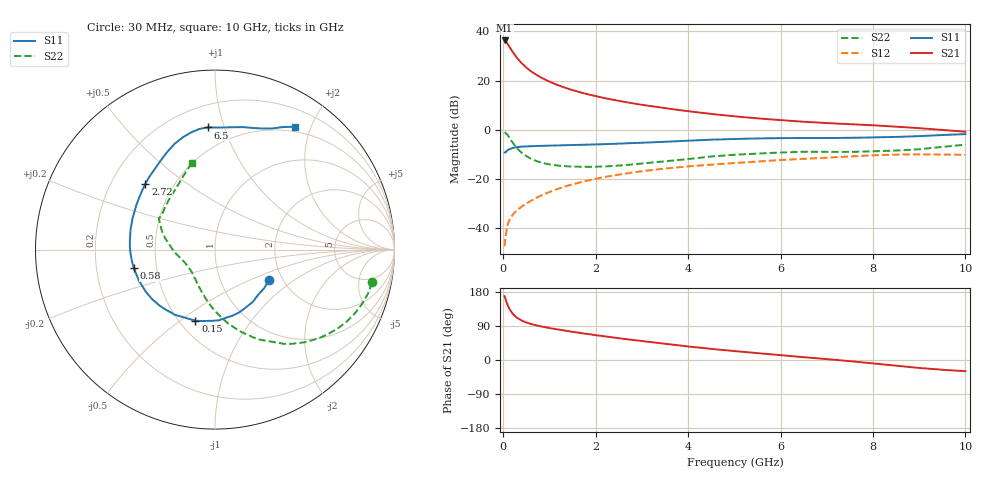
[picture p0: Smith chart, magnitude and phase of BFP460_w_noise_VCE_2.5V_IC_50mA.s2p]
! (c) 2016  Infineon Technologies AG, Munich
! Infineon Technologies  Discrete & RF Semiconductors
! BFP460
! VCE =  2.5 V,  IC =  50 mA
! Common Emitter S-Parameters:  Jan 2016
# GHz  S  MA  R  50
!  f  S11  S21  S12  S22
! GHz  MAG  ANG  MAG  ANG  MAG  ANG  MAG  ANG
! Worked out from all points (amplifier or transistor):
!   229 points, 30 MHz to 10 GHz, reference 50 ohm
!   highest |S21| = 36.3 dB at 30 MHz (marker M1)
!   |S21| within 3 dB of that: start of sweep to 148.7 MHz
!   unconditionally stable (mu >= 1): 1.113 GHz to 7.52 GHz
!   at 280 MHz: K = 0.64, MSG = 31.4 dB, |S12| = -33.0 dB
!   at 1.78 GHz: K = 1.03, MAG = 16.7 dB, |S12| = -20.8 dB
!   at 10 GHz: K = 0.97, MSG = 4.7 dB, |S12| = -10.2 dB
!   lowest NFmin = 1.78 dB at 3.5 GHz
!   S11 on the Smith chart (normalised r, x): 30 MHz: 1.70, -0.65; 150 MHz: 0.60, -0.57; 580 MHz: 0.37, -0.10; 2.72 GHz: 0.35, +0.35; 6.5 GHz: 0.35, +0.88; 10 GHz: 0.43, +1.77
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0.03  0.3447 -29.3  65.61 168.5  0.0043 83.8  0.8953 -11.8
0.05  0.3478 -46.1  63.1 160.0  0.0066 77.7  0.8721 -20.6
0.07  0.3662 -62.7  60.43 152.8  0.0093 73.4  0.8358 -28.7
0.09  0.3815 -75.8  56.89 146.5  0.0112 70.1  0.7904 -36.1
0.12  0.397 -92.2  51.42 138.2  0.0137 65.7  0.7193 -45.8
0.15  0.4109 -105.4  46.22 131.4  0.0157 63.1  0.6506 -53.8
0.2  0.4264 -121.6  38.97 122.7  0.0185 60.3  0.5537 -64.5
0.26  0.439 -134.8  32.34 115.3  0.0214 59.5  0.4665 -74.0
0.3  0.4457 -141.6  28.82 111.2  0.0232 59.6  0.4207 -79.6
0.4  0.4537 -153.6  22.54 104.0  0.0274 60.5  0.3414 -90.1
0.58  0.463 -167.0  16.09 95.9  0.0353 62.7  0.2644 -103.4
0.8  0.4711 -177.4  11.8 89.0  0.0452 64.0  0.2185 -115.6
1  0.4762 175.4  9.521 84.2  0.0544 64.5  0.1977 -123.8
1.3  0.4834 166.8  7.373 78.0  0.0685 63.8  0.1832 -133.2
1.7  0.4934 157.1  5.673 70.8  0.087 61.7  0.1768 -142.7
2.72  0.5331 136.7  3.562 54.2  0.1323 53.5  0.1944 -164.0
3.4  0.5654 125.5  2.838 44.3  0.1591 47.2  0.2233 -175.7
5.1  0.6548 104.8  1.843 22.5  0.2141 33.4  0.3142 160.5
6.5  0.6818 93.3  1.458 7.4  0.2559 22.6  0.3581 150.9
6.8  0.6803 90.5  1.404 4.5  0.265 20.5  0.3567 149.8
8.4  0.7119 72.0  1.175 -14.0  0.3116 5.9  0.3752 134.1
10  0.8163 56.9  0.912 -29.6  0.3103 -6.9  0.4993 105.2
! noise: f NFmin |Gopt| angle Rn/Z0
0.45  1.86  0.32  -170  0.13
0.9  1.89  0.29  -162  0.14
1.9  1.98  0.4  -140  0.16
3.5  1.78  0.62  -116  0.27
